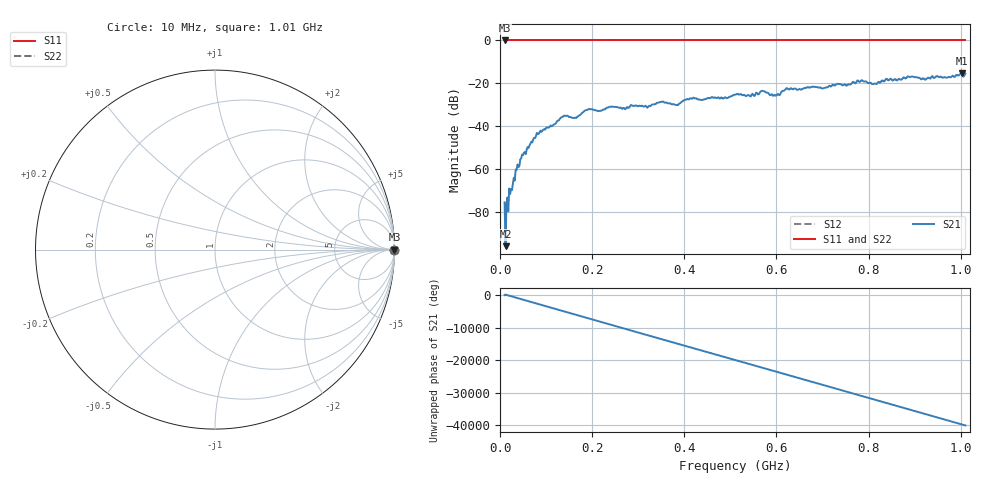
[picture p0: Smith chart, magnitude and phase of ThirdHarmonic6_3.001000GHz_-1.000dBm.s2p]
! 8/17/2025 8:34:58 AM
! C:\ANRITSUVNA\TEMP\TEMP.S2P
! CHANNEL.1
! TR.MEASUREMENT
! RAW.DATA
! RF.CORRECTION.OFF
! AVERAGING.OFF
! IF.BANDWIDTH: 5KHZ
! SWEEPTYPE:  FREQ.SWEEP(Linear)
! Reference Plane Port Info
! PORT:  PORT1  PORT2
! DISTANCE:  0  m  0  m
! TIME:  0  s  0  s
! PHASE.OFFSET:  0  deg.  0  deg.
! LOSS:  0  dB  0  dB
! REF.LOSS:  0  dB  0  dB
! REF.FREQ:  0  Hz  0  Hz
! Power Info
! POWER:  -20  dBm  -20  dBm
! EFF.POWER:  -20  dBm  -20  dBm
! SOURCE.ATTEN:  0  dB  0  dB
! TEST.ATTEN:  0  dB  0  dB
# GHZ S RI R 50.0
! FREQ.GHZ  S11RE  S11IM  S21RE  S21IM  S12RE  S12IM  S22RE  S22IM
!; PortSelection: Port_12
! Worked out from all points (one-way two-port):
!   501 points, 10 MHz to 1.01 GHz, reference 50 ohm
!   highest |S21| = -15.22 dB at 1.002 GHz (marker M1); lowest = -95.8 dB at 12 MHz (marker M2)
!   lowest |S11| = 0.0 dB at 10 MHz (marker M3)
!   |S11| at or under -10 dB: nowhere
!   |S22| runs from 0.0 to 0.0 dB; largest |S21 - S12| = 1.2
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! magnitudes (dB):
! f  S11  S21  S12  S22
! 10 MHz  0.0  -75.4  0.0  0.0
! 12 MHz  0.0  -95.8  0.0  0.0
! 14 MHz  0.0  -76.4  0.0  0.0
! 34 MHz  0.0  -60.1  0.0  0.0
! 48 MHz  0.0  -53.2  0.0  0.0
! 78 MHz  0.0  -44.6  0.0  0.0
! 136 MHz  0.0  -35.6  0.0  0.0
! 162 MHz  0.0  -36.0  0.0  0.0
! 178 MHz  0.0  -33.7  0.0  0.0
! 344 MHz  0.0  -29.0  0.0  0.0
! 384 MHz  0.0  -30.1  0.0  0.0
! 416 MHz  0.0  -27.1  0.0  0.0
! 510 MHz  0.0  -25.3  0.0  0.0
! 570 MHz  0.0  -23.5  0.0  0.0
! 596 MHz  0.0  -25.4  0.0  0.0
! 622 MHz  0.0  -22.2  0.0  0.0
! 678 MHz  0.0  -21.5  0.0  0.0
! 780 MHz  0.0  -19.3  0.0  0.0
! 814 MHz  0.0  -20.1  0.0  0.0
! 844 MHz  0.0  -18.5  0.0  0.0
! 1.002 GHz  0.0  -15.2  0.0  0.0
! 1.01 GHz  0.0  -15.4  0.0  0.0
